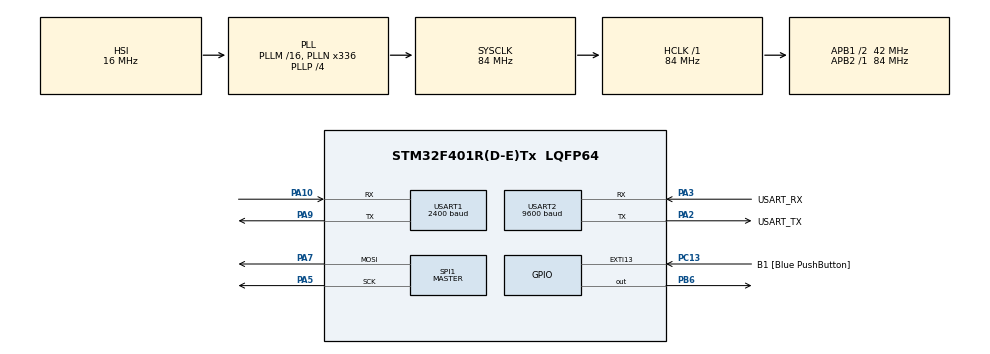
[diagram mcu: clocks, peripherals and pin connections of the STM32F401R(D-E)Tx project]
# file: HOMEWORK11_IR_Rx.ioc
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Dma.Request0=SPI1_TX
Dma.SPI1_TX.0.Direction=DMA_MEMORY_TO_PERIPH
Dma.SPI1_TX.0.FIFOMode=DMA_FIFOMODE_DISABLE
Dma.SPI1_TX.0.Instance=DMA2_Stream3
Dma.SPI1_TX.0.MemDataAlignment=DMA_MDATAALIGN_BYTE
Dma.SPI1_TX.0.MemInc=DMA_MINC_ENABLE
Dma.SPI1_TX.0.Mode=DMA_NORMAL
Dma.SPI1_TX.0.PeriphDataAlignment=DMA_PDATAALIGN_BYTE
Dma.SPI1_TX.0.PeriphInc=DMA_PINC_DISABLE
Dma.SPI1_TX.0.Priority=DMA_PRIORITY_LOW
Mcu.Family=STM32F4
Mcu.Name=STM32F401R(D-E)Tx
Mcu.Package=LQFP64
NVIC.DMA2_Stream3_IRQn=true\:0\:0\:false\:false\:true\:false\:true\:true
NVIC.PriorityGroup=NVIC_PRIORITYGROUP_4
NVIC.USART1_IRQn=true\:0\:0\:false\:false\:true\:true\:true\:true
NVIC.USART2_IRQn=true\:0\:0\:false\:false\:true\:true\:true\:true
PA10.Mode=Asynchronous
PA10.Signal=USART1_RX
PA13.GPIO_Label=TMS
PA13.Mode=Trace_Asynchronous_SW
PA13.Signal=SYS_JTMS-SWDIO
PA14.GPIO_Label=TCK
PA14.Mode=Trace_Asynchronous_SW
PA14.Signal=SYS_JTCK-SWCLK
PA2.GPIO_Label=USART_TX
PA2.GPIO_Mode=GPIO_MODE_AF_PP
PA2.GPIO_PuPd=GPIO_NOPULL
PA2.GPIO_Speed=GPIO_SPEED_FREQ_LOW
PA2.Mode=Asynchronous
PA2.Signal=USART2_TX
PA3.GPIO_Label=USART_RX
PA3.GPIO_Mode=GPIO_MODE_AF_PP
PA3.GPIO_PuPd=GPIO_NOPULL
PA3.GPIO_Speed=GPIO_SPEED_FREQ_LOW
PA3.Mode=Asynchronous
PA3.Signal=USART2_RX
PA5.Mode=TX_Only_Simplex_Unidirect_Master
PA5.Signal=SPI1_SCK
PA7.Mode=TX_Only_Simplex_Unidirect_Master
PA7.Signal=SPI1_MOSI
PA9.Mode=Asynchronous
PA9.Signal=USART1_TX
PB3.GPIO_Label=SWO
PB3.Mode=Trace_Asynchronous_SW
PB3.Signal=SYS_JTDO-SWO
PB6.Signal=GPIO_Output
PC13-ANTI_TAMP.GPIO_Label=B1 [Blue PushButton]
PC13-ANTI_TAMP.GPIO_ModeDefaultEXTI=GPIO_MODE_IT_FALLING
PC13-ANTI_TAMP.GPIO_PuPd=GPIO_NOPULL
PC13-ANTI_TAMP.Signal=GPXTI13
PC14-OSC32_IN.Mode=LSE-External-Oscillator
PC14-OSC32_IN.Signal=RCC_OSC32_IN
PC15-OSC32_OUT.Mode=LSE-External-Oscillator
PC15-OSC32_OUT.Signal=RCC_OSC32_OUT
PH0\ -\ OSC_IN.Mode=HSE-External-Clock-Source
PH0\ -\ OSC_IN.Signal=RCC_OSC_IN
PH1\ -\ OSC_OUT.Mode=HSE-External-Clock-Source
PH1\ -\ OSC_OUT.Signal=RCC_OSC_OUT
ProjectManager.HeapSize=0x200
ProjectManager.StackSize=0x400
ProjectManager.TargetToolchain=STM32CubeIDE
RCC.48MHZClocksFreq_Value=48000000
RCC.AHBFreq_Value=84000000
RCC.APB1CLKDivider=RCC_HCLK_DIV2
RCC.APB1Freq_Value=42000000
RCC.APB1TimFreq_Value=84000000
RCC.APB2Freq_Value=84000000
RCC.APB2TimFreq_Value=84000000
RCC.CortexFreq_Value=84000000
RCC.HCLKFreq_Value=84000000
RCC.HSE_VALUE=8000000
RCC.HSI_VALUE=16000000
RCC.PLLN=336
RCC.PLLP=RCC_PLLP_DIV4
RCC.PLLQ=7
RCC.SYSCLKFreq_VALUE=84000000
RCC.SYSCLKSource=RCC_SYSCLKSOURCE_PLLCLK
RCC.VCOOutputFreq_Value=336000000
SPI1.BaudRatePrescaler=SPI_BAUDRATEPRESCALER_4
SPI1.Direction=SPI_DIRECTION_2LINES
SPI1.Mode=SPI_MODE_MASTER
SPI1.VirtualType=VM_MASTER
TIM10.Period=4000-1
TIM10.Prescaler=84-1
USART1.BaudRate=2400
USART1.Mode=MODE_RX
USART1.VirtualMode=VM_ASYNC
USART2.BaudRate=9600
USART2.VirtualMode=VM_ASYNC
VP_TIM10_VS_ClockSourceINT.Mode=Enable_Timer
board=NUCLEO-F401RE

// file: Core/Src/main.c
/* USER CODE BEGIN Header */
/**
  ******************************************************************************
  * @file           : main.c
  * @brief          : Main program body
  ******************************************************************************
  * @attention
  *
  * Copyright (c) 2025 STMicroelectronics.
  * All rights reserved.
  *
  * This software is licensed under terms that can be found in the LICENSE file
  * in the root directory of this software component.
  * If no LICENSE file comes with this software, it is provided AS-IS.
  *
  ******************************************************************************
  */
/* USER CODE END Header */
#include "main.h"

/* USER CODE BEGIN Includes */
#include <string.h>
/* USER CODE END Includes */

/* USER CODE BEGIN PD */
#define RCLK_PIN GPIOB,GPIO_PIN_6
/* USER CODE END PD */

SPI_HandleTypeDef hspi1;
DMA_HandleTypeDef hdma_spi1_tx;

TIM_HandleTypeDef htim10;

UART_HandleTypeDef huart1;
UART_HandleTypeDef huart2;

/* USER CODE BEGIN PV */
uint8_t rx_byte; //byte received via IR

int column_index = 0;

uint8_t matrix[5][2];

uint8_t matrix_A[5][2] = {
		{31, 16},
		{36, 8},
		{68, 4},
		{36, 2},
		{31, 1}
};

uint8_t matrix_B[5][2] = {
		{127, 16},
		{73, 8},
		{73, 4},
		{73, 2},
		{54, 1}
};

uint8_t matrix_C[5][2] = {
		{62, 16},
		{65, 8},
		{65, 4},
		{65, 2},
		{34, 1}
};

uint8_t matrix_D[5][2] = {
    {127, 16},
    {65, 8},
    {65, 4},
    {65, 2},
    {62, 1}
};

uint8_t matrix_E[5][2] = {
    {127, 16},
    {73, 8},
    {73, 4},
    {73, 2},
    {65, 1}
};

uint8_t matrix_F[5][2] = {
    {127, 16},
    {72, 8},
    {72, 4},
    {72, 2},
    {64, 1}
};

uint8_t matrix_0[5][2] = {
    {62, 16},
    {113, 8},
    {73, 4},
    {71, 2},
    {62, 1}
};

uint8_t matrix_1[5][2] = {
    {33, 16},
    {65, 8},
    {127, 4},
    {1, 2},
    {1, 1}
};

uint8_t matrix_2[5][2] = {
    {35, 16},
    {69, 8},
    {73, 4},
    {81, 2},
    {33, 1}
};

uint8_t matrix_3[5][2] = {
    {65, 16},
    {73, 8},
    {73, 4},
    {73, 2},
    {54, 1}
};

uint8_t matrix_4[5][2] = {
    {120, 16},
    {8, 8},
    {8, 4},
    {127, 2},
    {8, 1}
};

uint8_t matrix_5[5][2] = {
    {121, 16},
    {73, 8},
    {73, 4},
    {73, 2},
    {70, 1}
};

uint8_t matrix_6[5][2] = {
    {62, 16},
    {73, 8},
    {73, 4},
    {73, 2},
    {70, 1}
};

uint8_t matrix_7[5][2] = {
    {64, 16},
    {64, 8},
    {67, 4},
    {76, 2},
    {112, 1}
};

uint8_t matrix_8[5][2] = {
    {54, 16},
    {73, 8},
    {73, 4},
    {73, 2},
    {54, 1}
};

uint8_t matrix_9[5][2] = {
    {48, 16},
    {72, 8},
    {72, 4},
    {72, 2},
    {127, 1}
};

uint8_t matrix_blank[5][2] = {
		{0, 16},
		{0, 8},
		{0, 4},
		{0, 2},
		{0, 1}
};

/* USER CODE END PV */

void SystemClock_Config(void);
static void MX_GPIO_Init(void);
static void MX_DMA_Init(void);
static void MX_USART2_UART_Init(void);
static void MX_SPI1_Init(void);
static void MX_USART1_UART_Init(void);
static void MX_TIM10_Init(void);

/* USER CODE BEGIN 0 */

void set_matrix(char c){
	switch(c)
	    {
	        case 'A': memcpy(matrix, matrix_A, sizeof(matrix)); break;
	        case 'B': memcpy(matrix, matrix_B, sizeof(matrix)); break;
	        case 'C': memcpy(matrix, matrix_C, sizeof(matrix)); break;
	        case 'D': memcpy(matrix, matrix_D, sizeof(matrix)); break;
	        case 'E': memcpy(matrix, matrix_E, sizeof(matrix)); break;
	        case 'F': memcpy(matrix, matrix_F, sizeof(matrix)); break;

	        case '0': memcpy(matrix, matrix_0, sizeof(matrix)); break;
	        case '1': memcpy(matrix, matrix_1, sizeof(matrix)); break;
	        case '2': memcpy(matrix, matrix_2, sizeof(matrix)); break;
	        case '3': memcpy(matrix, matrix_3, sizeof(matrix)); break;
	        case '4': memcpy(matrix, matrix_4, sizeof(matrix)); break;
	        case '5': memcpy(matrix, matrix_5, sizeof(matrix)); break;
	        case '6': memcpy(matrix, matrix_6, sizeof(matrix)); break;
	        case '7': memcpy(matrix, matrix_7, sizeof(matrix)); break;
	        case '8': memcpy(matrix, matrix_8, sizeof(matrix)); break;
	        case '9': memcpy(matrix, matrix_9, sizeof(matrix)); break;

	        default:
	            memcpy(matrix, matrix_blank, sizeof(matrix)); //unknown character -> matrix OFF
	            break;
	    }
}

/* USER CODE END 0 */

int main(void)
{

  /* MCU Configuration--------------------------------------------------------*/

  /* Reset of all peripherals, Initializes the Flash interface and the Systick. */
  HAL_Init();

  /* Configure the system clock */
  SystemClock_Config();

  /* Initialize all configured peripherals */
  MX_GPIO_Init();
  MX_DMA_Init();
  MX_USART2_UART_Init();
  MX_SPI1_Init();
  MX_USART1_UART_Init();
  MX_TIM10_Init();
  /* USER CODE BEGIN 2 */
  HAL_UART_Receive_IT(&huart1, &rx_byte, 1); //IR USART1 Rx interrupt mode

  set_matrix(' '); //initialize matrix

  HAL_TIM_Base_Start_IT(&htim10); //refresh of the LED columns
  /* USER CODE END 2 */

  /* Infinite loop */
  while (1)
  {

  }
}

void SystemClock_Config(void)
{
  RCC_OscInitTypeDef RCC_OscInitStruct = {0};
  RCC_ClkInitTypeDef RCC_ClkInitStruct = {0};

  /** Configure the main internal regulator output voltage
  */
  __HAL_RCC_PWR_CLK_ENABLE();
  __HAL_PWR_VOLTAGESCALING_CONFIG(PWR_REGULATOR_VOLTAGE_SCALE2);

  /** Initializes the RCC Oscillators according to the specified parameters
  * in the RCC_OscInitTypeDef structure.
  */
  RCC_OscInitStruct.OscillatorType = RCC_OSCILLATORTYPE_HSI;
  RCC_OscInitStruct.HSIState = RCC_HSI_ON;
  RCC_OscInitStruct.HSICalibrationValue = RCC_HSICALIBRATION_DEFAULT;
  RCC_OscInitStruct.PLL.PLLState = RCC_PLL_ON;
  RCC_OscInitStruct.PLL.PLLSource = RCC_PLLSOURCE_HSI;
  RCC_OscInitStruct.PLL.PLLM = 16;
  RCC_OscInitStruct.PLL.PLLN = 336;
  RCC_OscInitStruct.PLL.PLLP = RCC_PLLP_DIV4;
  RCC_OscInitStruct.PLL.PLLQ = 7;
  if (HAL_RCC_OscConfig(&RCC_OscInitStruct) != HAL_OK)
  {
    Error_Handler();
  }

  /** Initializes the CPU, AHB and APB buses clocks
  */
  RCC_ClkInitStruct.ClockType = RCC_CLOCKTYPE_HCLK|RCC_CLOCKTYPE_SYSCLK
                              |RCC_CLOCKTYPE_PCLK1|RCC_CLOCKTYPE_PCLK2;
  RCC_ClkInitStruct.SYSCLKSource = RCC_SYSCLKSOURCE_PLLCLK;
  RCC_ClkInitStruct.AHBCLKDivider = RCC_SYSCLK_DIV1;
  RCC_ClkInitStruct.APB1CLKDivider = RCC_HCLK_DIV2;
  RCC_ClkInitStruct.APB2CLKDivider = RCC_HCLK_DIV1;

  if (HAL_RCC_ClockConfig(&RCC_ClkInitStruct, FLASH_LATENCY_2) != HAL_OK)
  {
    Error_Handler();
  }
}

static void MX_SPI1_Init(void)
{

  /* SPI1 parameter configuration*/
  hspi1.Instance = SPI1;
  hspi1.Init.Mode = SPI_MODE_MASTER;
  hspi1.Init.Direction = SPI_DIRECTION_2LINES;
  hspi1.Init.DataSize = SPI_DATASIZE_8BIT;
  hspi1.Init.CLKPolarity = SPI_POLARITY_LOW;
  hspi1.Init.CLKPhase = SPI_PHASE_1EDGE;
  hspi1.Init.NSS = SPI_NSS_SOFT;
  hspi1.Init.BaudRatePrescaler = SPI_BAUDRATEPRESCALER_4;
  hspi1.Init.FirstBit = SPI_FIRSTBIT_MSB;
  hspi1.Init.TIMode = SPI_TIMODE_DISABLE;
  hspi1.Init.CRCCalculation = SPI_CRCCALCULATION_DISABLE;
  hspi1.Init.CRCPolynomial = 10;
  if (HAL_SPI_Init(&hspi1) != HAL_OK)
  {
    Error_Handler();
  }

}

static void MX_TIM10_Init(void)
{

  htim10.Instance = TIM10;
  htim10.Init.Prescaler = 84-1;
  htim10.Init.CounterMode = TIM_COUNTERMODE_UP;
  htim10.Init.Period = 4000-1;
  htim10.Init.ClockDivision = TIM_CLOCKDIVISION_DIV1;
  htim10.Init.AutoReloadPreload = TIM_AUTORELOAD_PRELOAD_DISABLE;
  if (HAL_TIM_Base_Init(&htim10) != HAL_OK)
  {
    Error_Handler();
  }

}

static void MX_USART1_UART_Init(void)
{

  huart1.Instance = USART1;
  huart1.Init.BaudRate = 2400;
  huart1.Init.WordLength = UART_WORDLENGTH_8B;
  huart1.Init.StopBits = UART_STOPBITS_1;
  huart1.Init.Parity = UART_PARITY_NONE;
  huart1.Init.Mode = UART_MODE_RX;
  huart1.Init.HwFlowCtl = UART_HWCONTROL_NONE;
  huart1.Init.OverSampling = UART_OVERSAMPLING_16;
  if (HAL_UART_Init(&huart1) != HAL_OK)
  {
    Error_Handler();
  }

}

static void MX_USART2_UART_Init(void)
{

  huart2.Instance = USART2;
  huart2.Init.BaudRate = 9600;
  huart2.Init.WordLength = UART_WORDLENGTH_8B;
  huart2.Init.StopBits = UART_STOPBITS_1;
  huart2.Init.Parity = UART_PARITY_NONE;
  huart2.Init.Mode = UART_MODE_TX_RX;
  huart2.Init.HwFlowCtl = UART_HWCONTROL_NONE;
  huart2.Init.OverSampling = UART_OVERSAMPLING_16;
  if (HAL_UART_Init(&huart2) != HAL_OK)
  {
    Error_Handler();
  }

}

static void MX_DMA_Init(void)
{

  /* DMA controller clock enable */
  __HAL_RCC_DMA2_CLK_ENABLE();

  /* DMA interrupt init */
  /* DMA2_Stream3_IRQn interrupt configuration */
  HAL_NVIC_SetPriority(DMA2_Stream3_IRQn, 0, 0);
  HAL_NVIC_EnableIRQ(DMA2_Stream3_IRQn);

}

static void MX_GPIO_Init(void)
{
  GPIO_InitTypeDef GPIO_InitStruct = {0};

  /* GPIO Ports Clock Enable */
  __HAL_RCC_GPIOC_CLK_ENABLE();
  __HAL_RCC_GPIOH_CLK_ENABLE();
  __HAL_RCC_GPIOA_CLK_ENABLE();
  __HAL_RCC_GPIOB_CLK_ENABLE();

  /*Configure GPIO pin Output Level */
  HAL_GPIO_WritePin(GPIOB, GPIO_PIN_6, GPIO_PIN_RESET);

  /*Configure GPIO pin : B1_Pin */
  GPIO_InitStruct.Pin = B1_Pin;
  GPIO_InitStruct.Mode = GPIO_MODE_IT_FALLING;
  GPIO_InitStruct.Pull = GPIO_NOPULL;
  HAL_GPIO_Init(B1_GPIO_Port, &GPIO_InitStruct);

  /*Configure GPIO pin : PB6 */
  GPIO_InitStruct.Pin = GPIO_PIN_6;
  GPIO_InitStruct.Mode = GPIO_MODE_OUTPUT_PP;
  GPIO_InitStruct.Pull = GPIO_NOPULL;
  GPIO_InitStruct.Speed = GPIO_SPEED_FREQ_LOW;
  HAL_GPIO_Init(GPIOB, &GPIO_InitStruct);

}

/* USER CODE BEGIN 4 */

void HAL_TIM_PeriodElapsedCallback(TIM_HandleTypeDef *htim){
	if(htim == &htim10){
		HAL_SPI_Transmit_DMA(&hspi1, matrix[column_index], 2);
	}
}

void HAL_SPI_TxCpltCallback(SPI_HandleTypeDef *hspi){
	if(hspi == &hspi1){
		HAL_GPIO_WritePin(RCLK_PIN, GPIO_PIN_SET);
		if(++column_index>4)
			column_index=0;
		HAL_GPIO_WritePin(RCLK_PIN, GPIO_PIN_RESET);
	}
}

void HAL_UART_RxCpltCallback(UART_HandleTypeDef *huart){
	if(huart == &huart1){
		set_matrix((char)rx_byte); //updates the matrix with the received character
		//HAL_UART_Transmit(&huart2, &rx_byte, 1, 50);
		HAL_UART_Receive_IT(&huart1, &rx_byte, 1);//activates reception of next byte
	}
}

/* USER CODE END 4 */

void Error_Handler(void)
{
  __disable_irq();
  while (1)
  {
  }
}
